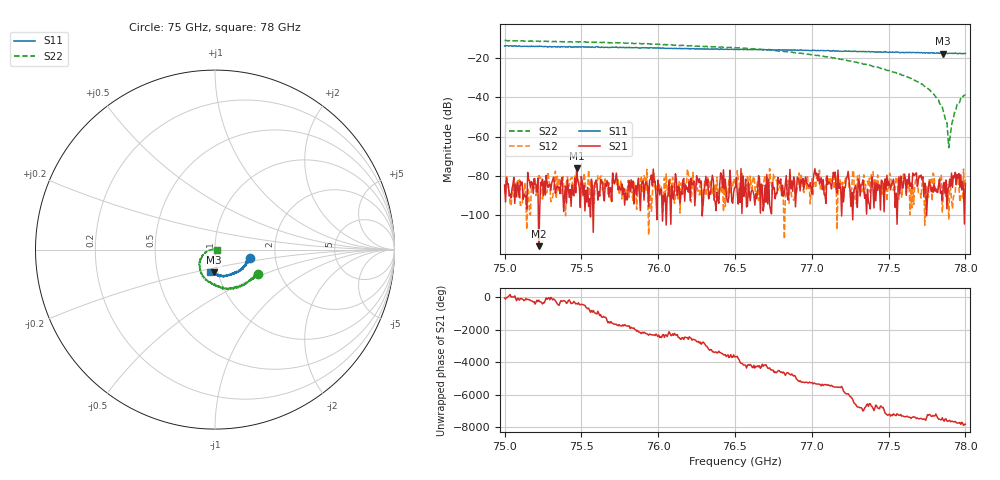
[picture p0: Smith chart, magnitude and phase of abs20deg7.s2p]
# Hz S MA R 50
! CMT, C4420, 21421029, 25.1.2/3
! Date: 8/7/2025 1:37:22 PM
! Data: Format (Calibration Info)
! Freq	S33:Mag/Ang(F2)	S43:Mag/Ang(F2)	S34:Mag/Ang(F2)	S44:Mag/Ang(F2)
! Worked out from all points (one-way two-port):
!   500 points, 75 GHz to 78 GHz, reference 50 ohm
!   highest |S21| = -76.18 dB at 75.469 GHz (marker M1); lowest = -115.6 dB at 75.222 GHz (marker M2)
!   lowest |S11| = -17.9 dB at 77.856 GHz (marker M3), VSWR 1.29, Z = 47.8 - j12.3 ohm
!   |S11| at or under -10 dB: start of sweep to end of sweep
!   |S22| runs from -65.6 to -11.2 dB; largest |S21 - S12| = 0.00024
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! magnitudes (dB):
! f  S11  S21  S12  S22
! 75 GHz  -14.0  -84.6  -86.0  -11.2
! 75.222 GHz  -14.2  -115.6  -79.0  -11.6
! 75.469 GHz  -14.5  -76.2  -81.0  -11.9
! 75.505 GHz  -14.4  -82.6  -89.4  -11.9
! 76.004 GHz  -15.1  -86.2  -86.7  -13.0
! 76.503 GHz  -15.8  -85.8  -84.3  -15.0
! 77.002 GHz  -16.3  -89.2  -80.9  -18.4
! 77.032 GHz  -16.4  -78.6  -80.1  -18.8
! 77.062 GHz  -16.3  -80.9  -86.3  -19.1
! 77.158 GHz  -16.5  -86.9  -81.6  -20.3
! 77.501 GHz  -17.3  -82.7  -85.7  -26.4
! 77.633 GHz  -17.2  -78.8  -80.8  -30.0
! 77.754 GHz  -17.5  -90.2  -86.1  -35.5
! 77.814 GHz  -17.6  -88.0  -87.6  -40.6
! 77.856 GHz  -17.9  -84.8  -90.1  -47.0
! 77.868 GHz  -17.8  -88.7  -88.3  -50.8
! 77.886 GHz  -17.8  -86.7  -86.9  -58.9
! 77.898 GHz  -17.7  -81.6  -85.1  -61.5
! 77.922 GHz  -17.8  -79.9  -90.6  -51.1
! 77.94 GHz  -17.8  -84.5  -79.0  -45.9
! 77.958 GHz  -17.8  -78.8  -85.7  -42.8
! 78 GHz  -17.8  -83.8  -80.5  -38.6
